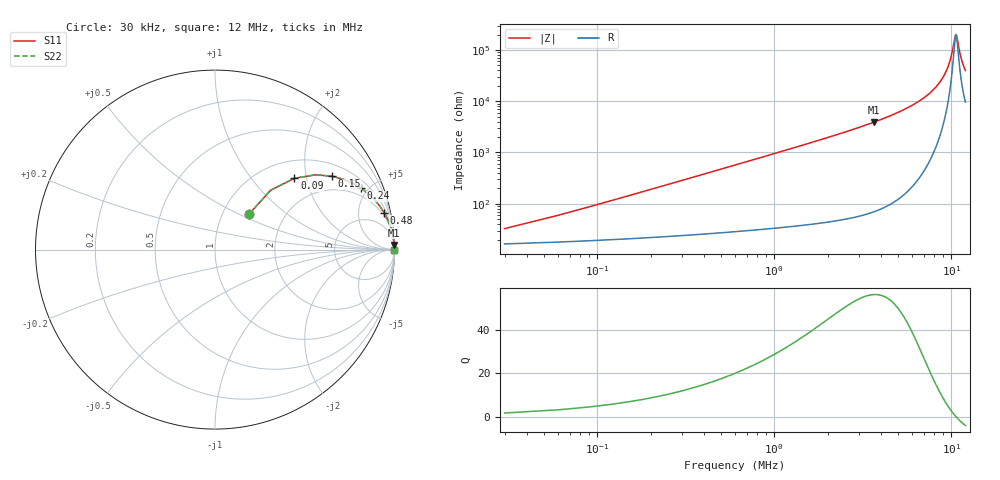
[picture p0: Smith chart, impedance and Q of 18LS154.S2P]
! Coilcraft 1812LS-154 Chip Inductor
! 8 August 2002
# MHZ S MA R 50
!Freq  MagS11  AngS11  MagS21  AngS21  MagS12  AngS12  MagS22  AngS22
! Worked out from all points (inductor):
!   400 points, 30 kHz to 12 MHz, reference 50 ohm
!   read as one part in series: L = 150 uH near 90 kHz
!   highest Q = 56.1 at 3.66 MHz (marker M1), where L = 170 uH
!   self-resonance near 10.62 MHz
!   S11 on the Smith chart (normalised r, x): 30 kHz: 1.33, +0.57; 90 kHz: 1.38, +1.70; 150 kHz: 1.41, +2.83; 240 kHz: 1.45, +4.53; 480 kHz: 1.54, +9.07; 12 MHz: open
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0.03  0.2729 46.2  0.8346 -13.6  0.8346 -13.6  0.2729 46.2
0.06  0.4537 46.8  0.765 -25.6  0.765 -25.6  0.4537 46.8
0.09  0.595 41.9  0.6845 -35.5  0.6845 -35.5  0.595 41.9
0.15  0.7687 32.2  0.5379 -49.5  0.5379 -49.5  0.7687 32.2
0.24  0.8835 22.7  0.3884 -61.5  0.3884 -61.5  0.8835 22.7
0.33  0.9315 17.3  0.2983 -68.2  0.2983 -68.2  0.9315 17.3
0.48  0.9647 12.2  0.2124 -74.4  0.2124 -74.4  0.9647 12.2
0.75  0.9845 8.0  0.1385 -79.6  0.1385 -79.6  0.9845 8.0
1.08  0.9922 5.5  0.09641 -82.6  0.09641 -82.6  0.9922 5.5
1.5  0.9958 4.0  0.06901 -84.5  0.06901 -84.5  0.9958 4.0
2.04  0.9976 2.9  0.04996 -85.9  0.04996 -85.9  0.9976 2.9
3.66  0.9992 1.5  0.02552 -87.5  0.02552 -87.5  0.9992 1.5
4.05  0.9993 1.3  0.02237 -87.7  0.02237 -87.7  0.9993 1.3
6.03  0.9996 0.7  0.01191 -87.8  0.01191 -87.8  0.9996 0.7
8.01  0.9996 0.3  0.005713 -86.2  0.005713 -86.2  0.9996 0.3
9.24  0.9996 0.2  0.002815 -81.5  0.002815 -81.5  0.9996 0.2
9.66  0.9996 0.1  0.001941 -77.0  0.001941 -77.0  0.9996 0.1
10.02  0.9995 0.1  0.001247 -68.5  0.001247 -68.5  0.9995 0.1
10.5  0.9995 0.0  0.0005394 -24.8  0.0005394 -24.8  0.9995 0.0
10.65  0.9995 -0.0  0.0005034 6.4  0.0005034 6.4  0.9995 -0.0
11.31  0.9994 -0.1  0.00137 66.2  0.00137 66.2  0.9994 -0.1
12  0.9994 -0.1  0.002514 75.9  0.002514 75.9  0.9994 -0.1
